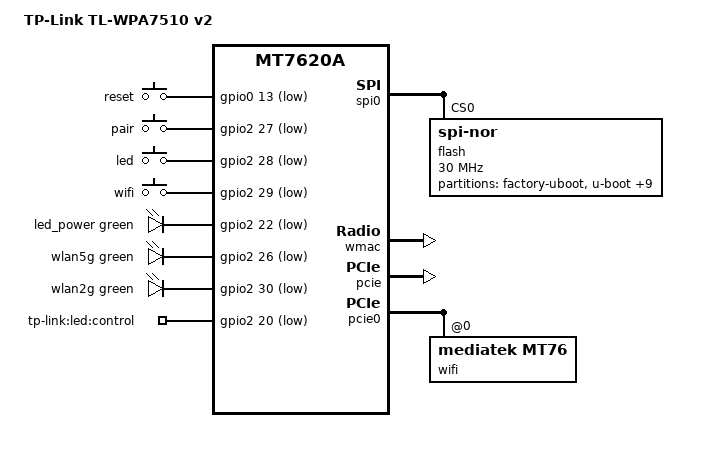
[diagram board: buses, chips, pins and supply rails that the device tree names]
// SPDX-License-Identifier: GPL-2.0-or-later OR MIT

#include "mt7620a.dtsi"

#include <dt-bindings/gpio/gpio.h>
#include <dt-bindings/input/input.h>
#include <dt-bindings/leds/common.h>

/ {
	compatible = "tplink,tl-wpa7510-v2", "ralink,mt7620a-soc";
	model = "TP-Link TL-WPA7510 v2";

	aliases {
		label-mac-device = &ethernet;
		led-boot = &led_power;
		led-failsafe = &led_power;
		led-running = &led_power;
		led-upgrade = &led_power;
	};

	chosen {
		bootargs = "console=ttyS0,115200";
	};

	keys {
		compatible = "gpio-keys";

		reset {
			label = "reset";
			gpios = <&gpio0 13 GPIO_ACTIVE_LOW>;
			linux,code = <KEY_RESTART>;
			debounce-interval = <60>;
		};

		pair {
			label = "pair";
			gpios = <&gpio2 27 GPIO_ACTIVE_LOW>;
			linux,code = <BTN_1>;
			debounce-interval = <60>;
		};

		led {
			label = "led";
			gpios = <&gpio2 28 GPIO_ACTIVE_LOW>;
			linux,code = <KEY_LIGHTS_TOGGLE>;
			debounce-interval = <60>;
		};

		wifi {
			label = "wifi";
			gpios = <&gpio2 29 GPIO_ACTIVE_LOW>;
			linux,code = <KEY_RFKILL>;
			debounce-interval = <60>;
		};
	};

	leds {
		compatible = "gpio-leds";

		led_power: power {
			function = LED_FUNCTION_POWER;
			color = <LED_COLOR_ID_GREEN>;
			gpios = <&gpio2 22 GPIO_ACTIVE_LOW>;
		};

		wlan5g {
			function = LED_FUNCTION_WLAN_5GHZ;
			color = <LED_COLOR_ID_GREEN>;
			gpios = <&gpio2 26 GPIO_ACTIVE_LOW>;
			linux,default-trigger = "phy0tpt";
		};

		wlan2g {
			function = LED_FUNCTION_WLAN_2GHZ;
			color = <LED_COLOR_ID_GREEN>;
			gpios = <&gpio2 30 GPIO_ACTIVE_LOW>;
			linux,default-trigger = "phy1tpt";
		};
	};

	gpio-export {
		compatible = "gpio-export";

		led_control {
			gpio-export,name = "tp-link:led:control";
			gpio-export,output = <0>;
			gpios = <&gpio2 20 GPIO_ACTIVE_LOW>;
		};
	};
};

&gpio2 {
	status = "okay";
};

&spi0 {
	status = "okay";

	flash@0 {
		compatible = "jedec,spi-nor";
		reg = <0>;
		spi-max-frequency = <30000000>;

		partitions {
			compatible = "fixed-partitions";
			#address-cells = <1>;
			#size-cells = <1>;

			partition@0 {
				label = "factory-uboot";
				reg = <0x0 0x30000>;
				read-only;
			};

			partition@30000 {
				label = "u-boot";
				reg = <0x30000 0x30000>;
				read-only;
			};

			partition@60000 {
				compatible = "tplink,firmware";
				label = "firmware";
				reg = <0x60000 0x5d0000>;
			};

			partition@630000 {
				label = "config";
				reg = <0x630000 0x60000>;
				read-only;
			};

			/* the powerline chip has no flash, the host loads these into it */
			partition@690000 {
				label = "plc-fw";
				reg = <0x690000 0x100000>;
				read-only;
			};

			partition@790000 {
				label = "plc-bin";
				reg = <0x790000 0x20000>;
				read-only;
			};

			partition@7b0000 {
				label = "plc-param";
				reg = <0x7b0000 0x10000>;
				read-only;
			};

			partition@7c0000 {
				label = "plc-param-csv";
				reg = <0x7c0000 0x10000>;
				read-only;
			};

			partition@7d0000 {
				label = "default-param";
				reg = <0x7d0000 0x10000>;
				read-only;
			};

			partition@7e0000 {
				label = "info";
				reg = <0x7e0000 0x10000>;
				read-only;

				nvmem-layout {
					compatible = "fixed-layout";
					#address-cells = <1>;
					#size-cells = <1>;

					macaddr_info_108: macaddr@108 {
						compatible = "mac-base";
						reg = <0x108 0x6>;
						#nvmem-cell-cells = <1>;
					};
				};
			};

			partition@7f0000 {
				label = "radio";
				reg = <0x7f0000 0x10000>;
				read-only;

				nvmem-layout {
					compatible = "fixed-layout";
					#address-cells = <1>;
					#size-cells = <1>;

					eeprom_radio_0: eeprom@0 {
						reg = <0x0 0x200>;
					};

					eeprom_radio_8000: eeprom@8000 {
						reg = <0x8000 0x200>;
					};
				};
			};
		};
	};
};

&state_default {
	gpio {
		groups = "i2c", "uartf", "mdio", "rgmii2", "wled", "nd_sd";
		function = "gpio";
	};
};

/* the port leads to the powerline chip, which has the socket behind it */
&ethernet {
	pinctrl-names = "default";
	pinctrl-0 = <&rgmii1_pins>;

	nvmem-cells = <&macaddr_info_108 0>;
	nvmem-cell-names = "mac-address";

	port@5 {
		status = "okay";
		mediatek,fixed-link = <1000 1 1 1>;
		phy-mode = "rgmii";
	};
};

&wmac {
	pinctrl-names = "default", "pa_gpio";
	pinctrl-0 = <&pa_pins>;
	pinctrl-1 = <&pa_gpio_pins>;

	nvmem-cells = <&eeprom_radio_0>, <&macaddr_info_108 0>;
	nvmem-cell-names = "eeprom", "mac-address";
};

&pcie {
	status = "okay";
};

&pcie0 {
	wifi@0,0 {
		compatible = "mediatek,mt76";
		reg = <0x0000 0 0 0 0>;
		ieee80211-freq-limit = <5000000 6000000>;
		nvmem-cells = <&eeprom_radio_8000>, <&macaddr_info_108 1>;
		nvmem-cell-names = "eeprom", "mac-address";
	};
};
